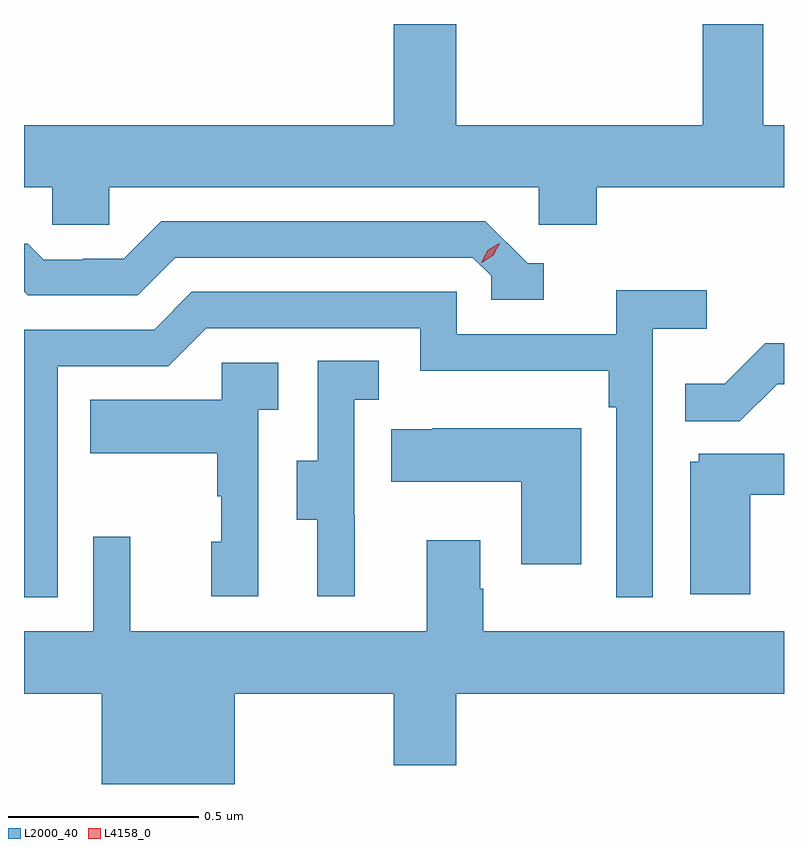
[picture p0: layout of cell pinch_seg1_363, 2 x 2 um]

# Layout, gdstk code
import gdstk
lib = gdstk.Library(unit=1e-6, precision=1e-09)
def P(c, l, *ps):  # polygons
    for p in ps: c.add(gdstk.Polygon(p, *l))
L2000_40 = (2000, 40)
L4158_0 = (4158, 0)

pinch_seg1_363 = lib.new_cell('pinch_seg1_363')
P(pinch_seg1_363, L2000_40, [(979.443,559.724),(980.574,559.724),(980.574,559.626),(980.726,559.626),(980.726,559.724),(981.219,559.724),(981.219,559.888),(981.165,559.888),(981.165,560.154),(981.005,560.154),(981.005,559.888),(980.356,559.888),(980.356,560.154),(980.192,560.154),(980.192,559.888),(979.219,559.888),(979.219,559.724),(979.293,559.724),(979.293,559.626),(979.443,559.626)],
  [(980.587,559.524),(980.544,559.524),(980.433,559.635),(979.58,559.635),(979.481,559.536),(979.374,559.536),(979.374,559.533),(979.271,559.533),(979.229,559.576),(979.219,559.576),(979.219,559.45),(979.229,559.44),(979.518,559.44),(979.617,559.539),(980.4,559.539),(980.448,559.491),(980.448,559.428),(980.587,559.428)],
  [(979.308,559.254),(979.599,559.254),(979.698,559.353),(980.262,559.353),(980.262,559.241),(980.758,559.241),(980.758,559.145),(980.778,559.145),(980.778,558.645),(980.874,558.645),(980.874,559.352),(981.016,559.352),(981.016,559.454),(980.777,559.454),(980.777,559.338),(980.358,559.338),(980.358,559.449),(979.661,559.449),(979.562,559.35),(979.219,559.35),(979.219,558.645),(979.308,558.645)],
  [(981.201,559.206),(981.219,559.206),(981.219,559.314),(981.17,559.314),(981.063,559.207),(980.959,559.207),(980.959,559.108),(981.103,559.108)],
  [(980.09,558.861),(980.088,558.861),(980.088,559.165),(980.152,559.165),(980.152,559.268),(979.992,559.268),(979.992,559.005),(979.937,559.005),(979.937,558.85),(979.991,558.85),(979.991,558.648),(980.09,558.648)],
  [(979.836,559.139),(979.888,559.139),(979.888,559.263),(979.74,559.263),(979.74,559.165),(979.393,559.165),(979.393,559.025),(979.728,559.025),(979.728,558.911),(979.738,558.911),(979.738,558.792),(979.712,558.792),(979.712,558.648),(979.836,558.648)],
  [(980.686,559.09),(980.293,559.09),(980.293,559.087),(980.185,559.087),(980.185,558.95),(980.528,558.95),(980.528,558.732),(980.686,558.732)],
  [(981.13,558.915),(981.219,558.915),(981.219,559.023),(980.994,559.023),(980.994,559.002),(980.972,559.002),(980.972,558.654),(981.13,558.654)],
  [(979.774,558.392),(980.192,558.392),(980.192,558.204),(980.356,558.204),(980.356,558.392),(981.219,558.392),(981.219,558.556),(980.427,558.556),(980.427,558.668),(980.419,558.668),(980.419,558.796),(980.279,558.796),(980.279,558.556),(979.499,558.556),(979.499,558.805),(979.401,558.805),(979.401,558.556),(979.219,558.556),(979.219,558.392),(979.424,558.392),(979.424,558.154),(979.774,558.154)])
P(pinch_seg1_363, L4158_0, [(980.422,559.526),(980.422,559.526),(980.439,559.559),(980.47,559.577),(980.471,559.577),(980.471,559.577),(980.454,559.545),(980.423,559.526)])

lib.write_gds('pinch_seg1_363.gds')
